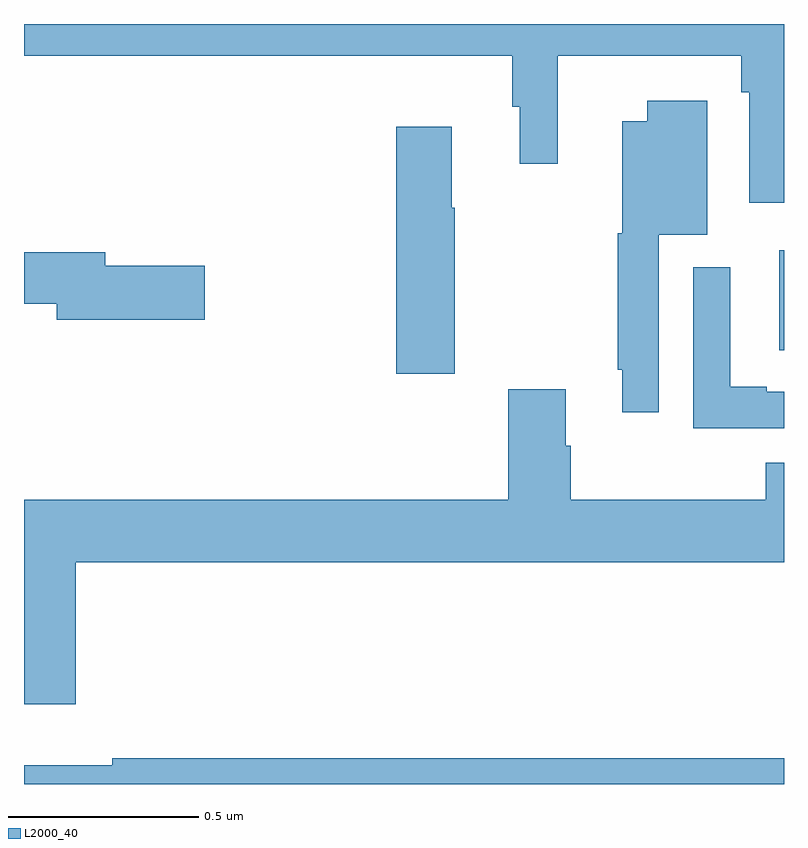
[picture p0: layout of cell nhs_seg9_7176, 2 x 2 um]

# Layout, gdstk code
import gdstk
lib = gdstk.Library(unit=1e-6, precision=1e-09)
def R(c, l, rs):  # rectangles x0, y0, x1, y1
    for r in rs: c.add(gdstk.rectangle(r[:2], r[2:], *l))
def P(c, l, *ps):  # polygons
    for p in ps: c.add(gdstk.Polygon(p, *l))
L2000_40 = (2000, 40)

nhs_seg9_7176 = lib.new_cell('nhs_seg9_7176')
R(nhs_seg9_7176, L2000_40, [(202.988,1199.642,203,1199.905)])
P(nhs_seg9_7176, L2000_40, [(203,1200.5),(201,1200.5),(201,1200.416),(202.285,1200.416),(202.285,1200.282),(202.304,1200.282),(202.304,1200.132),(202.404,1200.132),(202.404,1200.416),(202.888,1200.416),(202.888,1200.32),(202.908,1200.32),(202.908,1200.03),(203,1200.03)],
  [(202.671,1199.945),(202.798,1199.945),(202.798,1200.298),(202.64,1200.298),(202.64,1200.244),(202.574,1200.244),(202.574,1199.949),(202.563,1199.949),(202.563,1199.59),(202.574,1199.59),(202.574,1199.478),(202.671,1199.478)],
  [(202.134,1200.016),(202.126,1200.016),(202.126,1200.229),(201.98,1200.229),(201.98,1199.58),(202.134,1199.58)],
  [(201.475,1199.864),(201.214,1199.864),(201.214,1199.9),(201,1199.9),(201,1199.764),(201.086,1199.764),(201.086,1199.722),(201.475,1199.722)],
  [(203,1199.532),(202.954,1199.532),(202.954,1199.545),(202.858,1199.545),(202.858,1199.86),(202.761,1199.86),(202.761,1199.436),(203,1199.436)],
  [(201.136,1199.084),(203,1199.084),(203,1199.346),(202.952,1199.346),(202.952,1199.248),(202.439,1199.248),(202.439,1199.39),(202.426,1199.39),(202.426,1199.539),(202.274,1199.539),(202.274,1199.248),(201,1199.248),(201,1198.71),(201.136,1198.71)],
  [(203,1198.568),(201.232,1198.568),(201.232,1198.549),(201,1198.549),(201,1198.5),(203,1198.5)])

lib.write_gds('nhs_seg9_7176.gds')
